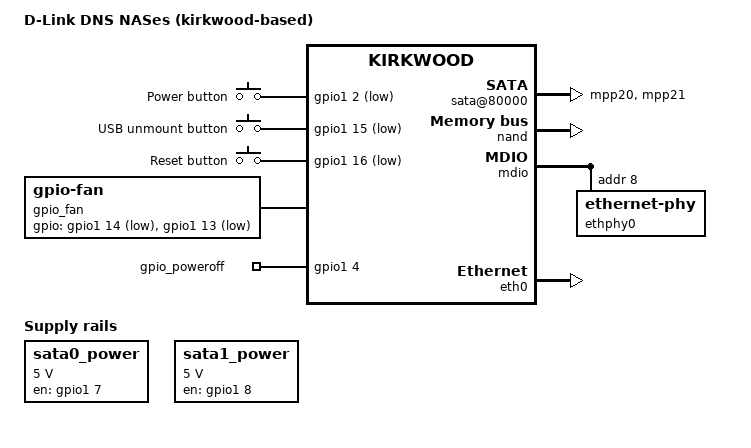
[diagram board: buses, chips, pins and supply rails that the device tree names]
#include "kirkwood.dtsi"
#include "kirkwood-6281.dtsi"

/ {
	model = "D-Link DNS NASes (kirkwood-based)";
	compatible = "dlink,dns-kirkwood", "marvell,kirkwood-88f6281", "marvell,kirkwood";

	gpio_keys {
		compatible = "gpio-keys";
		#address-cells = <1>;
		#size-cells = <0>;
		pinctrl-0 = <&pmx_button_power &pmx_button_unmount
			     &pmx_button_reset>;
		pinctrl-names = "default";

		power {
			label = "Power button";
			linux,code = <KEY_POWER>;
			gpios = <&gpio1 2 GPIO_ACTIVE_LOW>;
		};
		eject {
			label = "USB unmount button";
			linux,code = <KEY_EJECTCD>;
			gpios = <&gpio1 15 GPIO_ACTIVE_LOW>;
		};
		reset {
			label = "Reset button";
			linux,code = <KEY_RESTART>;
			gpios = <&gpio1 16 GPIO_ACTIVE_LOW>;
		};
	};

	gpio_fan {
		/* Fan: ADDA AD045HB-G73 40mm 6000rpm@5v */
		compatible = "gpio-fan";
		pinctrl-0 = <&pmx_fan_high_speed &pmx_fan_low_speed>;
		pinctrl-names = "default";
		gpios = <&gpio1 14 GPIO_ACTIVE_LOW
			 &gpio1 13 GPIO_ACTIVE_LOW>;
		gpio-fan,speed-map = <0    0
				      3000 1
				      6000 2>;
	};

	gpio_poweroff {
		compatible = "gpio-poweroff";
		pinctrl-0 = <&pmx_power_off>;
		pinctrl-names = "default";
		gpios = <&gpio1 4 GPIO_ACTIVE_HIGH>;
	};

	ocp@f1000000 {
		pinctrl: pin-controller@10000 {

			pinctrl-0 = <&pmx_power_back_on &pmx_present_sata0
				     &pmx_present_sata1 &pmx_fan_tacho
				     &pmx_temp_alarm>;
			pinctrl-names = "default";

			pmx_sata0: pmx-sata0 {
				marvell,pins = "mpp20";
				marvell,function = "sata1";
			};
			pmx_sata1: pmx-sata1 {
				marvell,pins = "mpp21";
				marvell,function = "sata0";
			};
			pmx_led_power: pmx-led-power {
				marvell,pins = "mpp26";
				marvell,function = "gpio";
			};
			pmx_led_red_right_hdd: pmx-led-red-right-hdd {
				marvell,pins = "mpp27";
				marvell,function = "gpio";
			};
			pmx_led_red_left_hdd: pmx-led-red-left-hdd {
				marvell,pins = "mpp28";
				marvell,function = "gpio";
			};
			pmx_led_red_usb_325: pmx-led-red-usb-325 {
				marvell,pins = "mpp29";
				marvell,function = "gpio";
			};
			pmx_button_power: pmx-button-power {
				marvell,pins = "mpp34";
				marvell,function = "gpio";
			};
			pmx_led_red_usb_320: pmx-led-red-usb-320 {
				marvell,pins = "mpp35";
				marvell,function = "gpio";
			};
			pmx_power_off: pmx-power-off {
				marvell,pins = "mpp36";
				marvell,function = "gpio";
			};
			pmx_power_back_on: pmx-power-back-on {
				marvell,pins = "mpp37";
				marvell,function = "gpio";
			};
			pmx_power_sata0: pmx-power-sata0 {
				marvell,pins = "mpp39";
				marvell,function = "gpio";
			};
			pmx_power_sata1: pmx-power-sata1 {
				marvell,pins = "mpp40";
				marvell,function = "gpio";
			};
			pmx_present_sata0: pmx-present-sata0 {
				marvell,pins = "mpp41";
				marvell,function = "gpio";
			};
			pmx_present_sata1: pmx-present-sata1 {
				marvell,pins = "mpp42";
				marvell,function = "gpio";
			};
			pmx_led_white_usb: pmx-led-white-usb {
				marvell,pins = "mpp43";
				marvell,function = "gpio";
			};
			pmx_fan_tacho: pmx-fan-tacho {
				marvell,pins = "mpp44";
				marvell,function = "gpio";
			};
			pmx_fan_high_speed: pmx-fan-high-speed {
				marvell,pins = "mpp45";
				marvell,function = "gpio";
			};
			pmx_fan_low_speed: pmx-fan-low-speed {
				marvell,pins = "mpp46";
				marvell,function = "gpio";
			};
			pmx_button_unmount: pmx-button-unmount {
				marvell,pins = "mpp47";
				marvell,function = "gpio";
			};
			pmx_button_reset: pmx-button-reset {
				marvell,pins = "mpp48";
				marvell,function = "gpio";
			};
			pmx_temp_alarm: pmx-temp-alarm {
				marvell,pins = "mpp49";
				marvell,function = "gpio";
			};
		};
		sata@80000 {
			pinctrl-0 = <&pmx_sata0 &pmx_sata1>;
			pinctrl-names = "default";
			status = "okay";
			nr-ports = <2>;
		};
	};

	regulators {
		compatible = "simple-bus";
		#address-cells = <1>;
		#size-cells = <0>;
		pinctrl-0 = <&pmx_power_sata0 &pmx_power_sata1>;
		pinctrl-names = "default";

		sata0_power: regulator@1 {
			compatible = "regulator-fixed";
			reg = <1>;
			regulator-name = "SATA0 Power";
			regulator-min-microvolt = <5000000>;
			regulator-max-microvolt = <5000000>;
			enable-active-high;
			regulator-always-on;
			regulator-boot-on;
			gpio = <&gpio1 7 0>;
		};
		sata1_power: regulator@2 {
			compatible = "regulator-fixed";
			reg = <2>;
			regulator-name = "SATA1 Power";
			regulator-min-microvolt = <5000000>;
			regulator-max-microvolt = <5000000>;
			enable-active-high;
			regulator-always-on;
			regulator-boot-on;
			gpio = <&gpio1 8 0>;
		};
	};
};

&nand {
	status = "okay";
	chip-delay = <35>;

	partition@0 {
		label = "u-boot";
		reg = <0x0000000 0x100000>;
		read-only;
	};

	partition@100000 {
		label = "uImage";
		reg = <0x0100000 0x500000>;
	};

	partition@600000 {
		label = "ramdisk";
		reg = <0x0600000 0x500000>;
	};

	partition@b00000 {
		label = "image";
		reg = <0x0b00000 0x6600000>;
	};

	partition@7100000 {
		label = "mini firmware";
		reg = <0x7100000 0xa00000>;
	};

	partition@7b00000 {
		label = "config";
		reg = <0x7b00000 0x500000>;
	};
};

&mdio {
	status = "okay";

	ethphy0: ethernet-phy@8 {
		reg = <8>;
	};
};

&eth0 {
	status = "okay";
	ethernet0-port@0 {
		phy-handle = <&ethphy0>;
	};
};
